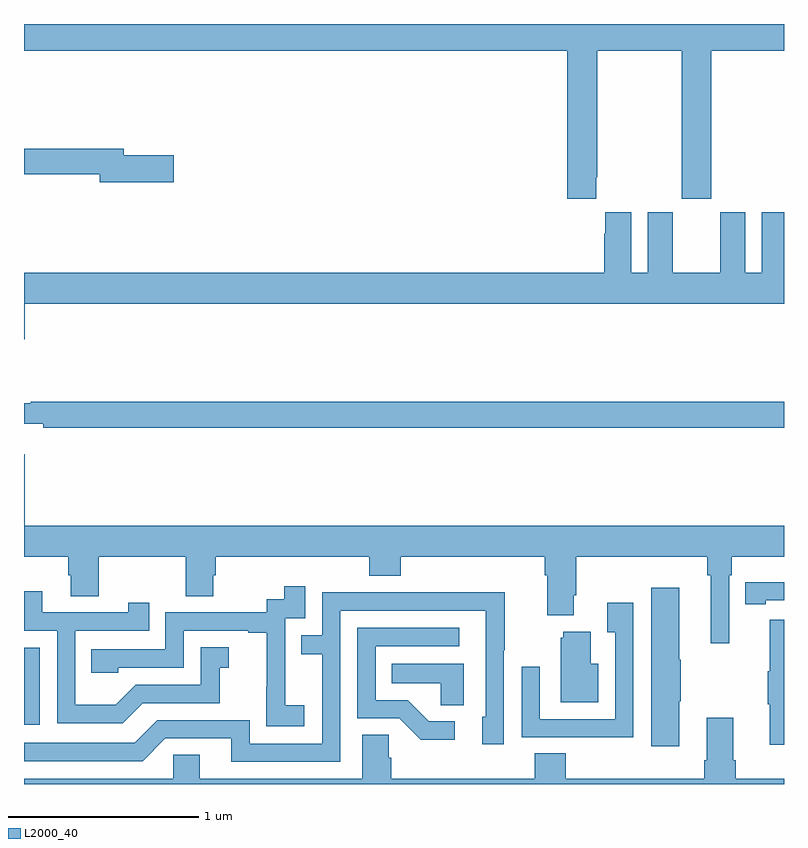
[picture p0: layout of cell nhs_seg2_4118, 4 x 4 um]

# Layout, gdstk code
import gdstk
lib = gdstk.Library(unit=1e-6, precision=1e-09)
def R(c, l, rs):  # rectangles x0, y0, x1, y1
    for r in rs: c.add(gdstk.rectangle(r[:2], r[2:], *l))
def P(c, l, *ps):  # polygons
    for p in ps: c.add(gdstk.Polygon(p, *l))
L2000_40 = (2000, 40)

nhs_seg2_4118 = lib.new_cell('nhs_seg2_4118')
R(nhs_seg2_4118, L2000_40, [(333,620.112,333.084,620.517)])
P(nhs_seg2_4118, L2000_40, [(333,623.66),(335.858,623.66),(335.858,622.881),(336.013,622.881),(336.013,622.993),(336.018,622.993),(336.018,623.66),(336.463,623.66),(336.463,622.881),(336.618,622.881),(336.618,623.66),(337,623.66),(337,623.8),(333,623.8)],
  [(333.787,623.108),(333.526,623.108),(333.526,623.144),(333,623.144),(333,623.008),(333.398,623.008),(333.398,622.966),(333.787,622.966)],
  [(333.004,622.328),(337,622.328),(337,622.81),(336.884,622.81),(336.884,622.492),(336.796,622.492),(336.796,622.81),(336.665,622.81),(336.665,622.492),(336.415,622.492),(336.415,622.81),(336.284,622.81),(336.284,622.492),(336.196,622.492),(336.196,622.81),(336.059,622.81),(336.059,622.697),(336.053,622.697),(336.053,622.492),(333,622.492),(333,622.14),(333.004,622.14)],
  [(337,621.812),(333.035,621.812),(333.035,621.805),(333,621.805),(333,621.695),(333.1,621.695),(333.1,621.676),(337,621.676)],
  [(333.004,621.535),(333,621.535),(333,620.996),(333.233,620.996),(333.233,620.898),(333.245,620.898),(333.245,620.788),(333.393,620.788),(333.393,620.996),(333.85,620.996),(333.85,620.788),(333.997,620.788),(333.997,620.898),(334.01,620.898),(334.01,620.996),(334.817,620.996),(334.817,620.897),(334.982,620.897),(334.982,620.996),(335.741,620.996),(335.741,620.9),(335.753,620.9),(335.753,620.687),(335.893,620.687),(335.893,620.794),(335.906,620.794),(335.906,620.996),(336.595,620.996),(336.595,620.9),(336.614,620.9),(336.614,620.541),(336.711,620.541),(336.711,620.9),(336.725,620.9),(336.725,620.996),(337,620.996),(337,621.16),(333.004,621.16)],
  [(336.904,620.766),(337,620.766),(337,620.863),(336.904,620.863),(336.904,620.862),(336.796,620.862),(336.796,620.746),(336.904,620.746)],
  [(334.474,620.215),(334.376,620.215),(334.376,620.444),(334.374,620.444),(334.374,620.673),(334.479,620.673),(334.479,620.842),(334.371,620.842),(334.371,620.772),(334.278,620.772),(334.278,620.703),(333.744,620.703),(333.744,620.508),(333.355,620.508),(333.355,620.385),(333.495,620.385),(333.495,620.412),(333.84,620.412),(333.84,620.607),(334.181,620.607),(334.181,620.595),(334.277,620.595),(334.277,620.311),(334.276,620.311),(334.276,620.105),(334.474,620.105)],
  [(336.448,620.236),(336.456,620.236),(336.456,620.453),(336.448,620.453),(336.448,620.833),(336.302,620.833),(336.302,619.998),(336.448,619.998)],
  [(333.625,620.226),(334.029,620.226),(334.029,620.411),(334.078,620.411),(334.078,620.521),(333.93,620.521),(333.93,620.322),(333.588,620.322),(333.484,620.218),(333.27,620.218),(333.27,620.607),(333.659,620.607),(333.659,620.755),(333.548,620.755),(333.548,620.703),(333.097,620.703),(333.097,620.815),(333,620.815),(333,620.607),(333.174,620.607),(333.174,620.121),(333.52,620.121)],
  [(334.665,620.712),(335.43,620.712),(335.43,620.154),(335.411,620.154),(335.411,620.01),(335.526,620.01),(335.526,620.503),(335.529,620.503),(335.529,620.81),(335.065,620.81),(335.065,620.808),(334.569,620.808),(334.569,620.583),(334.459,620.583),(334.459,620.482),(334.569,620.482),(334.569,620.013),(334.188,620.013),(334.188,620.136),(333.702,620.136),(333.582,620.016),(333,620.016),(333,619.92),(333.624,619.92),(333.744,620.04),(334.091,620.04),(334.091,619.917),(334.665,619.917)],
  [(336.207,620.755),(336.071,620.755),(336.071,620.599),(336.111,620.599),(336.111,620.142),(335.715,620.142),(335.715,620.416),(335.619,620.416),(335.619,620.046),(335.935,620.046),(335.935,620.045),(336.207,620.045)],
  [(337,620.665),(336.926,620.665),(336.926,620.393),(336.915,620.393),(336.915,620.219),(336.926,620.219),(336.926,620.007),(337,620.007)],
  [(335.266,620.13),(335.131,620.13),(335.02,620.241),(334.851,620.241),(334.851,620.526),(335.29,620.526),(335.29,620.622),(334.755,620.622),(334.755,620.145),(334.974,620.145),(335.087,620.033),(335.266,620.033)],
  [(336.022,620.434),(335.983,620.434),(335.983,620.602),(335.837,620.602),(335.837,620.571),(335.825,620.571),(335.825,620.231),(336.022,620.231)],
  [(335.314,620.434),(334.936,620.434),(334.936,620.33),(335.193,620.33),(335.193,620.215),(335.314,620.215)],
  [(334.92,619.937),(334.92,620.06),(334.781,620.06),(334.781,619.828),(333.925,619.828),(333.925,619.955),(333.786,619.955),(333.786,619.828),(333,619.828),(333,619.8),(337,619.8),(337,619.828),(336.746,619.828),(336.746,619.924),(336.733,619.924),(336.733,620.149),(336.593,620.149),(336.593,619.924),(336.581,619.924),(336.581,619.828),(335.852,619.828),(335.852,619.961),(335.687,619.961),(335.687,619.828),(334.934,619.828),(334.934,619.937)])

lib.write_gds('nhs_seg2_4118.gds')
